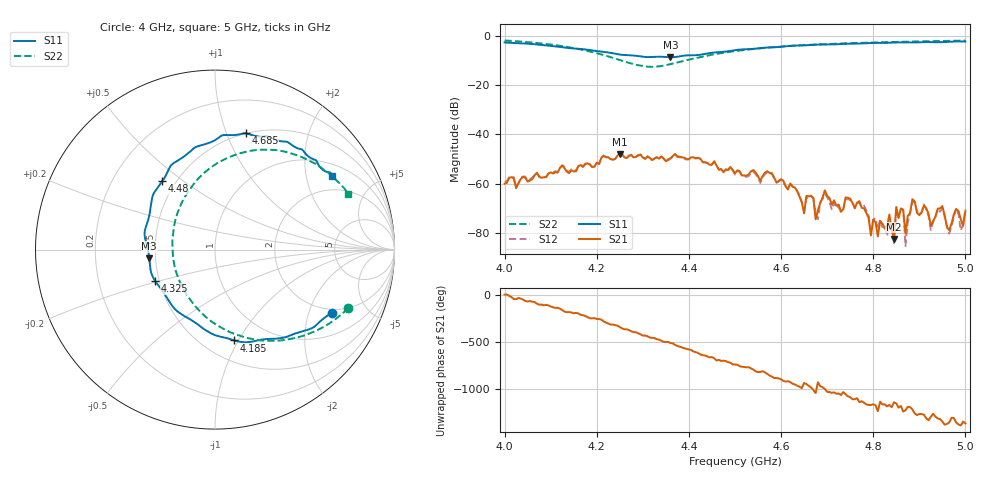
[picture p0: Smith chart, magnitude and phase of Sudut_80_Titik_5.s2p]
# Hz S RI R 50
! CMT, C1220, 16058040, 17.2.0/1
! Date: 15/08/2018 12:19:18
! Data: Format (Calibration Info)
! Freq  S11: Re/Im (F2)  S21: Re/Im (F2)  S12: Re/Im (F2)  S22: Re/Im (F2)
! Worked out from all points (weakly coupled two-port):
!   201 points, 4 GHz to 5 GHz, reference 50 ohm
!   highest |S21| = -47.89 dB at 4.25 GHz (marker M1); lowest = -82.4 dB at 4.845 GHz (marker M2)
!   lowest |S11| = -8.6 dB at 4.36 GHz (marker M3), VSWR 2.17, Z = 23.1 - j2.59 ohm
!   |S11| at or under -10 dB: nowhere
!   |S22| runs from -12.5 to -1.8 dB; largest |S21 - S12| = 0.00017
!   S11 on the Smith chart (normalised r, x): 4 GHz: 1.85, -2.85; 4.185 GHz: 0.70, -0.96; 4.325 GHz: 0.47, -0.19; 4.48 GHz: 0.42, +0.42; 4.685 GHz: 0.50, +1.17; 5 GHz: 1.42, +2.85
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4e9  0.6491 -0.3508  0.000991 0.000103  0.00106 0.000162  0.741 -0.3259
4.17e9  0.1534 -0.5157  -0.00183 0.0012  -0.0019 0.00122  0.1747 -0.4906
4.185e9  0.1066 -0.5059  -0.000969 0.00227  -0.000943 0.00228  0.1133 -0.471
4.25e9  -0.1166 -0.4027  0.00378 0.00139  0.0038 0.00142  -0.1225 -0.2996
4.325e9  -0.3332 -0.175  -0.000439 -0.00322  -0.000553 -0.00318  -0.237 0.00491
4.335e9  -0.35 -0.1439  -0.00135 -0.00293  -0.00143 -0.00284  -0.2372 0.0467
4.36e9  -0.3662 -0.0484  -0.0029 -0.00159  -0.00288 -0.00154  -0.2256 0.1432
4.48e9  -0.2937 0.3805  0.00189 0.000539  0.00186 0.000447  -0.0148 0.4633
4.5e9  -0.2583 0.4449  0.00151 -0.000573  0.00141 -0.000589  0.0307 0.4919
4.67e9  0.1434 0.6439  0.000209 0.000473  0.000225 0.000461  0.3765 0.5484
4.675e9  0.1533 0.6463  0.000157 0.000106  0.000222 0.000125  0.3855 0.5466
4.685e9  0.1701 0.6479  -0.000119 0.000388  -0.000162 0.000388  0.4024 0.5417
4.77e9  0.3492 0.6075  0.000201 -0.000395  0.000219 -0.00035  0.5233 0.4962
4.795e9  0.3976 0.6012  -6.26e-06 -8.89e-05  -3.45e-05 -0.000113  0.5545 0.4815
4.835e9  0.457 0.5655  -1.4e-05 -0.000237  1.8e-05 -0.000162  0.5989 0.451
4.845e9  0.4733 0.5612  3.22e-05 -6.89e-05  5.92e-05 -1.89e-05  0.6101 0.4428
4.85e9  0.4794 0.5596  7.5e-05 -0.00033  8.29e-05 -0.000282  0.6161 0.4389
4.87e9  0.4969 0.5439  -8.39e-05 -4.9e-05  -5.4e-05 -2.79e-06  0.635 0.4246
4.885e9  0.5182 0.5205  -0.000377 -0.000307  -0.00032 -0.000285  0.6496 0.4115
4.95e9  0.6013 0.4439  9.86e-07 0.000352  -4.41e-06 0.00032  0.7059 0.3562
4.965e9  0.628 0.4318  2.07e-05 0.000112  4.23e-05 8.74e-05  0.718 0.3442
5e9  0.6537 0.4075  0.000102 0.000258  6.39e-05 0.000297  0.7437 0.3106
